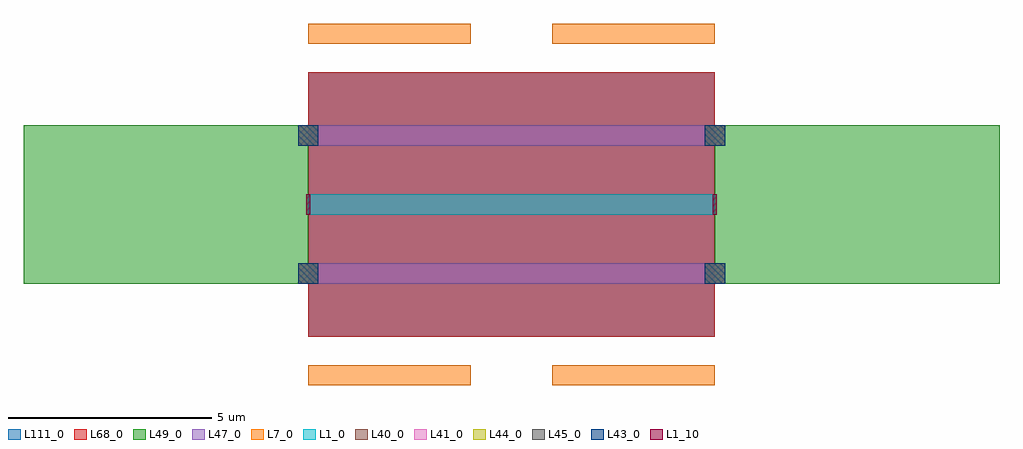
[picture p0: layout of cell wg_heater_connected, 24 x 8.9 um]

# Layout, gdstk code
import gdstk
lib = gdstk.Library(unit=1e-6, precision=1e-09)
def R(c, l, rs):  # rectangles x0, y0, x1, y1
    for r in rs: c.add(gdstk.rectangle(r[:2], r[2:], *l))
L1_0 = (1, 0)
L1_10 = (1, 10)
L7_0 = (7, 0)
L40_0 = (40, 0)
L41_0 = (41, 0)
L43_0 = (43, 0)
L44_0 = (44, 0)
L45_0 = (45, 0)
L47_0 = (47, 0)
L49_0 = (49, 0)
L68_0 = (68, 0)
L111_0 = (111, 0)

wg_heater_connected = lib.new_cell('wg_heater_connected')
R(wg_heater_connected, L1_0, [(0,-0.25,10,0.25)])
R(wg_heater_connected, L1_10, [(-0.05,-0.25,0.05,0.25), (9.95,-0.25,10.05,0.25)])
R(wg_heater_connected, L7_0, [(0,-4.45,4,-3.95), (6,-4.45,10,-3.95), (0,3.95,4,4.45), (6,3.95,10,4.45)])
R(wg_heater_connected, L40_0, [(-0.25,-1.95,0.25,-1.45), (9.75,-1.95,10.25,-1.45), (-0.25,1.45,0.25,1.95), (9.75,1.45,10.25,1.95)])
R(wg_heater_connected, L41_0, [(-0.25,-1.95,0.25,-1.45), (9.75,-1.95,10.25,-1.45), (-0.25,1.45,0.25,1.95), (9.75,1.45,10.25,1.95)])
R(wg_heater_connected, L43_0, [(-0.25,-1.95,0.25,-1.45), (9.75,-1.95,10.25,-1.45), (-0.25,1.45,0.25,1.95), (9.75,1.45,10.25,1.95)])
R(wg_heater_connected, L44_0, [(-0.25,-1.95,0.25,-1.45), (9.75,-1.95,10.25,-1.45), (-0.25,1.45,0.25,1.95), (9.75,1.45,10.25,1.95)])
R(wg_heater_connected, L45_0, [(-0.25,-1.95,0.25,-1.45), (9.75,-1.95,10.25,-1.45), (-0.25,1.45,0.25,1.95), (9.75,1.45,10.25,1.95)])
R(wg_heater_connected, L47_0, [(0,-1.95,10,-1.45), (0,1.45,10,1.95)])
R(wg_heater_connected, L49_0, [(-7,-1.95,0,1.95), (-0.25,-1.95,0.25,-1.45), (9.75,-1.95,10.25,-1.45), (10,-1.95,17,1.95), (-0.25,1.45,0.25,1.95), (9.75,1.45,10.25,1.95)])
R(wg_heater_connected, L68_0, [(0,-3.25,10,3.25)])
R(wg_heater_connected, L111_0, [(0,-3.25,10,3.25)])

lib.write_gds('wg_heater_connected.gds')
